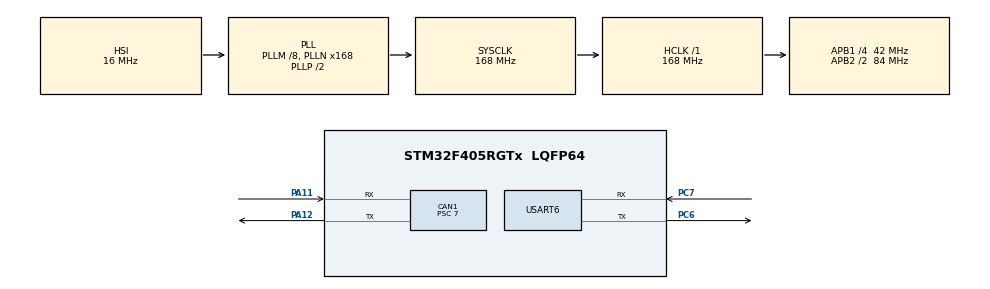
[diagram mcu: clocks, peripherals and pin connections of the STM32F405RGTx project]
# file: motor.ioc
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CAN1.BS1=CAN_BS1_2TQ
CAN1.BS2=CAN_BS2_3TQ
CAN1.CalculateBaudRate=999999
CAN1.CalculateTimeBit=1000
CAN1.CalculateTimeQuantum=166.66666666666669
CAN1.Prescaler=7
Dma.Request0=USART6_RX
Dma.Request1=USART6_TX
Dma.USART6_RX.0.Direction=DMA_PERIPH_TO_MEMORY
Dma.USART6_RX.0.FIFOMode=DMA_FIFOMODE_DISABLE
Dma.USART6_RX.0.Instance=DMA2_Stream1
Dma.USART6_RX.0.MemDataAlignment=DMA_MDATAALIGN_BYTE
Dma.USART6_RX.0.MemInc=DMA_MINC_ENABLE
Dma.USART6_RX.0.Mode=DMA_NORMAL
Dma.USART6_RX.0.PeriphDataAlignment=DMA_PDATAALIGN_BYTE
Dma.USART6_RX.0.PeriphInc=DMA_PINC_DISABLE
Dma.USART6_RX.0.Priority=DMA_PRIORITY_MEDIUM
Dma.USART6_TX.1.Direction=DMA_MEMORY_TO_PERIPH
Dma.USART6_TX.1.FIFOMode=DMA_FIFOMODE_DISABLE
Dma.USART6_TX.1.Instance=DMA2_Stream6
Dma.USART6_TX.1.MemDataAlignment=DMA_MDATAALIGN_BYTE
Dma.USART6_TX.1.MemInc=DMA_MINC_ENABLE
Dma.USART6_TX.1.Mode=DMA_NORMAL
Dma.USART6_TX.1.PeriphDataAlignment=DMA_PDATAALIGN_BYTE
Dma.USART6_TX.1.PeriphInc=DMA_PINC_DISABLE
Dma.USART6_TX.1.Priority=DMA_PRIORITY_LOW
FREERTOS.Queues01=myQueue01,16,uint16_t,0,Dynamic,NULL,NULL
FREERTOS.Tasks01=defaultTask,24,128,StartDefaultTask,Default,NULL,Dynamic,NULL,NULL;myTask01,8,128,StartTask01,Default,NULL,Dynamic,NULL,NULL
Mcu.Family=STM32F4
Mcu.Name=STM32F405RGTx
Mcu.Package=LQFP64
NVIC.CAN1_RX0_IRQn=true\:5\:0\:false\:false\:true\:true\:true\:true\:true
NVIC.CAN1_TX_IRQn=true\:5\:0\:false\:false\:true\:true\:true\:true\:true
NVIC.DMA2_Stream1_IRQn=true\:5\:0\:false\:false\:true\:true\:false\:true\:true
NVIC.DMA2_Stream6_IRQn=true\:5\:0\:false\:false\:true\:true\:false\:true\:true
NVIC.PriorityGroup=NVIC_PRIORITYGROUP_4
NVIC.TIM1_UP_TIM10_IRQn=true\:15\:0\:false\:false\:true\:false\:false\:true\:true
NVIC.TimeBase=TIM1_UP_TIM10_IRQn
NVIC.TimeBaseIP=TIM1
PA11.Mode=CAN_Activate
PA11.Signal=CAN1_RX
PA12.Mode=CAN_Activate
PA12.Signal=CAN1_TX
PA13.Mode=Serial_Wire
PA13.Signal=SYS_JTMS-SWDIO
PA14.Mode=Serial_Wire
PA14.Signal=SYS_JTCK-SWCLK
PC14-OSC32_IN.Mode=LSE-External-Oscillator
PC14-OSC32_IN.Signal=RCC_OSC32_IN
PC15-OSC32_OUT.Mode=LSE-External-Oscillator
PC15-OSC32_OUT.Signal=RCC_OSC32_OUT
PC6.Mode=Asynchronous
PC6.Signal=USART6_TX
PC7.Mode=Asynchronous
PC7.Signal=USART6_RX
PH0-OSC_IN.Mode=HSE-External-Oscillator
PH0-OSC_IN.Signal=RCC_OSC_IN
PH1-OSC_OUT.Mode=HSE-External-Oscillator
PH1-OSC_OUT.Signal=RCC_OSC_OUT
ProjectManager.HeapSize=0x200
ProjectManager.StackSize=0x400
ProjectManager.TargetToolchain=MDK-ARM V5.32
RCC.48MHZClocksFreq_Value=84000000
RCC.AHBFreq_Value=168000000
RCC.APB1CLKDivider=RCC_HCLK_DIV4
RCC.APB1Freq_Value=42000000
RCC.APB1TimFreq_Value=84000000
RCC.APB2CLKDivider=RCC_HCLK_DIV2
RCC.APB2Freq_Value=84000000
RCC.APB2TimFreq_Value=168000000
RCC.CortexFreq_Value=168000000
RCC.HCLKFreq_Value=168000000
RCC.HSE_VALUE=25000000
RCC.HSI_VALUE=16000000
RCC.PLLM=8
RCC.PLLN=168
RCC.SYSCLKFreq_VALUE=168000000
RCC.SYSCLKSource=RCC_SYSCLKSOURCE_PLLCLK
RCC.VCOOutputFreq_Value=336000000
USART6.VirtualMode=VM_ASYNC
VP_FREERTOS_VS_CMSIS_V2.Mode=CMSIS_V2
VP_SYS_VS_tim1.Mode=TIM1
board=custom

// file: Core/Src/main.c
/* USER CODE BEGIN Header */
/**
  ******************************************************************************
  * @file           : main.c
  * @brief          : Main program body
  ******************************************************************************
  * @attention
  *
  * Copyright (c) 2024 STMicroelectronics.
  * All rights reserved.
  *
  * This software is licensed under terms that can be found in the LICENSE file
  * in the root directory of this software component.
  * If no LICENSE file comes with this software, it is provided AS-IS.
  *
  ******************************************************************************
  */
/* USER CODE END Header */
#include "main.h"
#include "cmsis_os.h"
#include "can.h"
#include "dma.h"
#include "usart.h"
#include "gpio.h"

void SystemClock_Config(void);
void MX_FREERTOS_Init(void);

int main(void)
{

  /* MCU Configuration--------------------------------------------------------*/

  /* Reset of all peripherals, Initializes the Flash interface and the Systick. */
  HAL_Init();

  /* Configure the system clock */
  SystemClock_Config();

  /* Initialize all configured peripherals */
  MX_GPIO_Init();
  MX_DMA_Init();
  MX_CAN1_Init();
  MX_USART6_UART_Init();

  /* Init scheduler */
  osKernelInitialize();

  /* Call init function for freertos objects (in cmsis_os2.c) */
  MX_FREERTOS_Init();

  /* Start scheduler */
  osKernelStart();

  /* We should never get here as control is now taken by the scheduler */

  /* Infinite loop */
  while (1)
  {

  }
}

void SystemClock_Config(void)
{
  RCC_OscInitTypeDef RCC_OscInitStruct = {0};
  RCC_ClkInitTypeDef RCC_ClkInitStruct = {0};

  /** Configure the main internal regulator output voltage
  */
  __HAL_RCC_PWR_CLK_ENABLE();
  __HAL_PWR_VOLTAGESCALING_CONFIG(PWR_REGULATOR_VOLTAGE_SCALE1);

  /** Initializes the RCC Oscillators according to the specified parameters
  * in the RCC_OscInitTypeDef structure.
  */
  RCC_OscInitStruct.OscillatorType = RCC_OSCILLATORTYPE_HSI;
  RCC_OscInitStruct.HSIState = RCC_HSI_ON;
  RCC_OscInitStruct.HSICalibrationValue = RCC_HSICALIBRATION_DEFAULT;
  RCC_OscInitStruct.PLL.PLLState = RCC_PLL_ON;
  RCC_OscInitStruct.PLL.PLLSource = RCC_PLLSOURCE_HSI;
  RCC_OscInitStruct.PLL.PLLM = 8;
  RCC_OscInitStruct.PLL.PLLN = 168;
  RCC_OscInitStruct.PLL.PLLP = RCC_PLLP_DIV2;
  RCC_OscInitStruct.PLL.PLLQ = 4;
  if (HAL_RCC_OscConfig(&RCC_OscInitStruct) != HAL_OK)
  {
    Error_Handler();
  }

  /** Initializes the CPU, AHB and APB buses clocks
  */
  RCC_ClkInitStruct.ClockType = RCC_CLOCKTYPE_HCLK|RCC_CLOCKTYPE_SYSCLK
                              |RCC_CLOCKTYPE_PCLK1|RCC_CLOCKTYPE_PCLK2;
  RCC_ClkInitStruct.SYSCLKSource = RCC_SYSCLKSOURCE_PLLCLK;
  RCC_ClkInitStruct.AHBCLKDivider = RCC_SYSCLK_DIV1;
  RCC_ClkInitStruct.APB1CLKDivider = RCC_HCLK_DIV4;
  RCC_ClkInitStruct.APB2CLKDivider = RCC_HCLK_DIV2;

  if (HAL_RCC_ClockConfig(&RCC_ClkInitStruct, FLASH_LATENCY_5) != HAL_OK)
  {
    Error_Handler();
  }
}

void HAL_TIM_PeriodElapsedCallback(TIM_HandleTypeDef *htim)
{
  if (htim->Instance == TIM1) {
    HAL_IncTick();
  }
}

void Error_Handler(void)
{
  __disable_irq();
  while (1)
  {
  }
}

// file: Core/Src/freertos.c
/* USER CODE BEGIN Header */
/**
  ******************************************************************************
  * File Name          : freertos.c
  * Description        : Code for freertos applications
  ******************************************************************************
  * @attention
  *
  * Copyright (c) 2024 STMicroelectronics.
  * All rights reserved.
  *
  * This software is licensed under terms that can be found in the LICENSE file
  * in the root directory of this software component.
  * If no LICENSE file comes with this software, it is provided AS-IS.
  *
  ******************************************************************************
  */
/* USER CODE END Header */

#include "FreeRTOS.h"
#include "task.h"
#include "main.h"
#include "cmsis_os.h"

/* USER CODE BEGIN Includes */
#include "queue.h"
#include "usart.h"
#include "can.h"
#include "pid.h"

//速度环（单级�?
pid_struct_t motor_pid_Single;//定义单个pid结构�?
float speedTarget = 1000;//速度目标位置（单级）

//角度环（串级�?
pid_Cascade_t motor_pid_Cas;//定义串级pid结构�?
float angleTarget = 600;//角度目标位置（串级）

#define SPEED //SPEED or ANGLE or OPEN

/* USER CODE END Includes */

/* Definitions for defaultTask */
osThreadId_t defaultTaskHandle;
const osThreadAttr_t defaultTask_attributes = {
  .name = "defaultTask",
  .stack_size = 128 * 4,
  .priority = (osPriority_t) osPriorityNormal,
};
/* Definitions for myTask01 */
osThreadId_t myTask01Handle;
const osThreadAttr_t myTask01_attributes = {
  .name = "myTask01",
  .stack_size = 128 * 4,
  .priority = (osPriority_t) osPriorityLow,
};
/* Definitions for myQueue01 */
osMessageQueueId_t myQueue01Handle;
const osMessageQueueAttr_t myQueue01_attributes = {
  .name = "myQueue01"
};

void StartDefaultTask(void *argument);
void StartTask01(void *argument);

void MX_FREERTOS_Init(void); /* (MISRA C 2004 rule 8.1) */

void MX_FREERTOS_Init(void) {

  /* Create the queue(s) */
  /* creation of myQueue01 */
  myQueue01Handle = osMessageQueueNew (16, sizeof(uint16_t), &myQueue01_attributes);

  /* Create the thread(s) */
  /* creation of defaultTask */
  defaultTaskHandle = osThreadNew(StartDefaultTask, NULL, &defaultTask_attributes);

  /* creation of myTask01 */
  myTask01Handle = osThreadNew(StartTask01, NULL, &myTask01_attributes);

}

void StartDefaultTask(void *argument)
{
  /* USER CODE BEGIN StartDefaultTask */
  /* Infinite loop */
  for(;;)
  {
    vTaskDelete(NULL);
  }
  /* USER CODE END StartDefaultTask */
}

void StartTask01(void *argument)
{
  /* USER CODE BEGIN StartTask01 */
//    HAL_UARTEx_ReceiveToIdle_DMA(&huart6, rx_buff, BUFF_SIZE);
//    __HAL_DMA_DISABLE_IT(&hdma_usart6_rx, DMA_IT_HT);
//
//    BaseType_t xReturn;
//    uint16_t temp;
//    uint8_t Send_Data = 0;
    extern Motor_Info motor_info;

    Configure_Filter();
  /* Infinite loop */
  for(;;)
  {
      #ifdef OPEN //�?环控�?
      CAN_Transmit(25000);//[-30000,30000]
//      HAL_Delay(5);
#endif
#ifdef SPEED//速度单闭环控�?
      /*open loop control*/
      pid_init(&motor_pid_Single,5,3,0,30000,30000);
      int16_t set_voltage = pid_calc(&motor_pid_Single, speedTarget, motor_info.rotor_speed);
      CAN_Transmit(set_voltage);

//      HAL_Delay(5);
#endif
#ifdef ANGLE//角度双闭环控�?
    /*closed loop control*/

      pid_init(&motor_pid_Cas.inner, 5, 3, 5, 50, 30000);
      pid_init(&motor_pid_Cas.outer, 0, 3, 5, 50, 30000);
      int16_t set_voltage = pid_CascadeCalc(&motor_pid_Cas,angleTarget,motor_info.rotor_angle,motor_info.rotor_speed);
      CAN_Transmit(set_voltage);

//      HAL_Delay(5);
#endif
    vTaskDelay(5);
  }
  /* USER CODE END StartTask01 */
}
